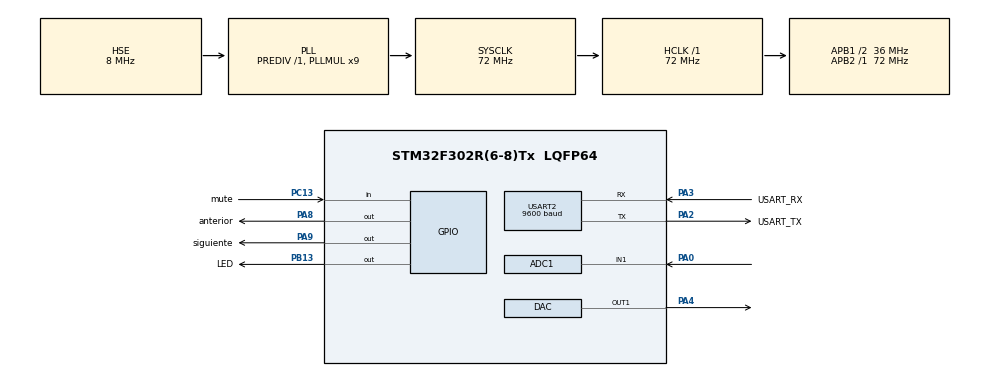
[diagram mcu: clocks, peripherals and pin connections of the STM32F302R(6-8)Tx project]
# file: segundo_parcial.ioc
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ADC1.Channel-0\#ChannelRegularConversion=ADC_CHANNEL_1
ADC1.ContinuousConvMode=ENABLE
ADC1.DMAContinuousRequests=ENABLE
ADC1.NbrOfConversionFlag=1
ADC1.Offset-0\#ChannelRegularConversion=0
ADC1.OffsetNumber-0\#ChannelRegularConversion=ADC_OFFSET_NONE
ADC1.Rank-0\#ChannelRegularConversion=1
ADC1.SamplingTime-0\#ChannelRegularConversion=ADC_SAMPLETIME_601CYCLES_5
ADC1.SamplingTimeOPAMP-0\#ChannelRegularConversion=ADC_SAMPLETIME_61CYCLES_5
ADC1.SubFamily=STM32F302x8
ADC1.master=1
DAC.DAC_Trigger=DAC_TRIGGER_T2_TRGO
Dma.ADC1.0.Direction=DMA_PERIPH_TO_MEMORY
Dma.ADC1.0.Instance=DMA1_Channel1
Dma.ADC1.0.MemDataAlignment=DMA_MDATAALIGN_WORD
Dma.ADC1.0.MemInc=DMA_MINC_ENABLE
Dma.ADC1.0.Mode=DMA_CIRCULAR
Dma.ADC1.0.PeriphDataAlignment=DMA_PDATAALIGN_WORD
Dma.ADC1.0.PeriphInc=DMA_PINC_DISABLE
Dma.ADC1.0.Priority=DMA_PRIORITY_LOW
Dma.DAC_CH1.1.Direction=DMA_MEMORY_TO_PERIPH
Dma.DAC_CH1.1.Instance=DMA1_Channel3
Dma.DAC_CH1.1.MemDataAlignment=DMA_MDATAALIGN_WORD
Dma.DAC_CH1.1.MemInc=DMA_MINC_ENABLE
Dma.DAC_CH1.1.Mode=DMA_CIRCULAR
Dma.DAC_CH1.1.PeriphDataAlignment=DMA_PDATAALIGN_WORD
Dma.DAC_CH1.1.PeriphInc=DMA_PINC_DISABLE
Dma.DAC_CH1.1.Priority=DMA_PRIORITY_LOW
Dma.Request0=ADC1
Dma.Request1=DAC_CH1
Mcu.Family=STM32F3
Mcu.Name=STM32F302R(6-8)Tx
Mcu.Package=LQFP64
NVIC.DMA1_Channel1_IRQn=true\:0\:0\:false\:false\:true\:false\:true\:true
NVIC.DMA1_Channel3_IRQn=true\:0\:0\:false\:false\:true\:false\:true\:true
NVIC.PriorityGroup=NVIC_PRIORITYGROUP_0
PA0.Mode=IN1-Single-Ended
PA0.Signal=ADC1_IN1
PA13.GPIO_Label=TMS
PA13.Mode=Serial_Wire
PA13.Signal=SYS_JTMS-SWDIO
PA14.GPIO_Label=TCK
PA14.Mode=Serial_Wire
PA14.Signal=SYS_JTCK-SWCLK
PA2.GPIO_Label=USART_TX
PA2.GPIO_Mode=GPIO_MODE_AF_PP
PA2.GPIO_PuPd=GPIO_NOPULL
PA2.GPIO_Speed=GPIO_SPEED_FREQ_LOW
PA2.Mode=Asynchronous
PA2.Signal=USART2_TX
PA3.GPIO_Label=USART_RX
PA3.GPIO_Mode=GPIO_MODE_AF_PP
PA3.GPIO_PuPd=GPIO_NOPULL
PA3.GPIO_Speed=GPIO_SPEED_FREQ_LOW
PA3.Mode=Asynchronous
PA3.Signal=USART2_RX
PA4.Signal=COMP_DAC1_group
PA8.GPIO_Label=anterior
PA8.GPIO_PuPd=GPIO_PULLDOWN
PA8.Signal=GPIO_Output
PA9.GPIO_Label=siguiente
PA9.GPIO_PuPd=GPIO_PULLDOWN
PA9.Signal=GPIO_Output
PB13.GPIO_Label=LED
PB13.Signal=GPIO_Output
PB3.GPIO_Label=SWO
PB3.Mode=Trace_Asynchronous_SW
PB3.Signal=SYS_JTDO-TRACESWO
PC13.GPIO_Label=mute
PC13.Signal=GPIO_Input
PC14\ -\ OSC32_IN.Signal=RCC_OSC32_IN
PC15\ -\ OSC32_OUT.Signal=RCC_OSC32_OUT
PF0-OSC_IN.Mode=HSE-External-Oscillator
PF0-OSC_IN.Signal=RCC_OSC_IN
PF1-OSC_OUT.Mode=HSE-External-Oscillator
PF1-OSC_OUT.Signal=RCC_OSC_OUT
ProjectManager.HeapSize=0x200
ProjectManager.StackSize=0x400
ProjectManager.TargetToolchain=STM32CubeIDE
RCC.AHBFreq_Value=72000000
RCC.APB1CLKDivider=RCC_HCLK_DIV2
RCC.APB1Freq_Value=36000000
RCC.APB1TimFreq_Value=72000000
RCC.APB2Freq_Value=72000000
RCC.APB2TimFreq_Value=72000000
RCC.CortexFreq_Value=72000000
RCC.HCLKFreq_Value=72000000
RCC.HSE_VALUE=8000000
RCC.HSI_VALUE=8000000
RCC.PLLM=8
RCC.PLLMUL=RCC_PLL_MUL9
RCC.PLLN=336
RCC.PLLP=RCC_PLLP_DIV4
RCC.PLLQ=7
RCC.PLLSourceVirtual=RCC_PLLSOURCE_HSE
RCC.SYSCLKFreq_VALUE=72000000
RCC.SYSCLKSourceVirtual=RCC_SYSCLKSOURCE_PLLCLK
RCC.USBFreq_Value=72000000
SH.COMP_DAC1_group.0=DAC_OUT1,DAC_OUT1
TIM2.Period=100-1
TIM2.Prescaler=72-1
TIM2.TIM_MasterOutputTrigger=TIM_TRGO_UPDATE
USART2.BaudRate=9600
USART2.VirtualMode-Asynchronous=VM_ASYNC
VP_TIM2_VS_ClockSourceINT.Mode=Internal
board=NUCLEO-F302R8

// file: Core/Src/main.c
/* USER CODE BEGIN Header */
/**
  ******************************************************************************
  * @file           : main.c
  * @brief          : Main program body
  ******************************************************************************
  * @attention
  *
  * Copyright (c) 2023 STMicroelectronics.
  * All rights reserved.
  *
  * This software is licensed under terms that can be found in the LICENSE file
  * in the root directory of this software component.
  * If no LICENSE file comes with this software, it is provided AS-IS.
  *
  ******************************************************************************
  */
/* USER CODE END Header */
#include "main.h"

/* USER CODE BEGIN Includes */
#include "stdio.h"
#include "string.h"
/* USER CODE END Includes */

/* USER CODE BEGIN PD */
#define BUFFER_SIZE 1
/* USER CODE END PD */

ADC_HandleTypeDef hadc1;
DMA_HandleTypeDef hdma_adc1;

DAC_HandleTypeDef hdac;
DMA_HandleTypeDef hdma_dac_ch1;

TIM_HandleTypeDef htim2;

UART_HandleTypeDef huart2;

/* USER CODE BEGIN PV */
uint32_t input_1 = 0;
int mut = 0;
int count = 0;
/* USER CODE END PV */

void SystemClock_Config(void);
static void MX_GPIO_Init(void);
static void MX_DMA_Init(void);
static void MX_USART2_UART_Init(void);
static void MX_ADC1_Init(void);
static void MX_DAC_Init(void);
static void MX_TIM2_Init(void);

/* USER CODE BEGIN 0 */
void next(){

			HAL_GPIO_WritePin(siguiente_GPIO_Port, siguiente_Pin, 1);
			HAL_Delay(1);
			HAL_GPIO_WritePin(siguiente_GPIO_Port, siguiente_Pin, 0);

}

void back(){

		HAL_GPIO_WritePin(anterior_GPIO_Port, anterior_Pin, 1);
		HAL_Delay(1);
		HAL_GPIO_WritePin(anterior_GPIO_Port, anterior_Pin, 0);

}

/* USER CODE END 0 */

int main(void)
{
  /* USER CODE BEGIN 1 */
//	char rxBuffer[BUFFER_SIZE];
  /* USER CODE END 1 */

  /* MCU Configuration--------------------------------------------------------*/

  /* Reset of all peripherals, Initializes the Flash interface and the Systick. */
  HAL_Init();

  /* Configure the system clock */
  SystemClock_Config();

  /* Initialize all configured peripherals */
  MX_GPIO_Init();
  MX_DMA_Init();
  MX_USART2_UART_Init();
  MX_ADC1_Init();
  MX_DAC_Init();
  MX_TIM2_Init();
  /* USER CODE BEGIN 2 */
HAL_ADC_Start_DMA(&hadc1, &input_1, 1);
HAL_DAC_Start_DMA(&hdac, DAC_CHANNEL_1, &input_1, 1, DAC_ALIGN_12B_R);
HAL_TIM_Base_Init(&htim2);\
//char mensaje_1[20] = "encendido";
//char mensaje_2[20] = "apagado";
char mensaje_3[20] = "muteon";
char mensaje_4[20] = "muteoff";

  /* USER CODE END 2 */

  /* Infinite loop */
  /* USER CODE BEGIN WHILE */
  while (1)
  {
		/*if (HAL_UART_Receive(&huart2,(uint8_t*)rxBuffer , 1, 100)== HAL_OK){
			if (rxBuffer[0] = '1'){
				HAL_UART_Transmit(&huart2, (uint8_t*)mensaje_1, strlen(mensaje_1), 100);
				  next();
						HAL_GPIO_TogglePin(LED_GPIO_Port, LED_Pin);

			}
		}

	  if (rxBuffer[0] = '2'){
		  HAL_UART_Transmit(&huart2, (uint8_t*)mensaje_2, strlen(mensaje_2), 100);
		  back();
			HAL_GPIO_TogglePin(LED_GPIO_Port, LED_Pin);
	  }
*/

if (!HAL_GPIO_ReadPin(mute_GPIO_Port, mute_Pin)){
	count ++;
	HAL_Delay(400);
}
if (count == 1){//desactiva el dac y adc cauando es 1
	  HAL_UART_Transmit(&huart2, (uint8_t*)mensaje_3, strlen(mensaje_3), 100);
	HAL_DAC_Stop(&hdac, DAC_CHANNEL_1);
	HAL_ADC_Stop(&hadc1);
}
if (count == 2){//aqui se reproduce
	  HAL_UART_Transmit(&huart2, (uint8_t*)mensaje_4, strlen(mensaje_4), 100);
	HAL_DAC_Start(&hdac, DAC_CHANNEL_1);
	HAL_ADC_Start(&hadc1);

}
if (count == 3){
	count = 0;//se cambiao a 0 si da error cambiar a 1.
    /* USER CODE END WHILE */

  }
}
}
void SystemClock_Config(void)
{
  RCC_OscInitTypeDef RCC_OscInitStruct = {0};
  RCC_ClkInitTypeDef RCC_ClkInitStruct = {0};
  RCC_PeriphCLKInitTypeDef PeriphClkInit = {0};

  /** Initializes the RCC Oscillators according to the specified parameters
  * in the RCC_OscInitTypeDef structure.
  */
  RCC_OscInitStruct.OscillatorType = RCC_OSCILLATORTYPE_HSE;
  RCC_OscInitStruct.HSEState = RCC_HSE_ON;
  RCC_OscInitStruct.HSEPredivValue = RCC_HSE_PREDIV_DIV1;
  RCC_OscInitStruct.HSIState = RCC_HSI_ON;
  RCC_OscInitStruct.PLL.PLLState = RCC_PLL_ON;
  RCC_OscInitStruct.PLL.PLLSource = RCC_PLLSOURCE_HSE;
  RCC_OscInitStruct.PLL.PLLMUL = RCC_PLL_MUL9;
  if (HAL_RCC_OscConfig(&RCC_OscInitStruct) != HAL_OK)
  {
    Error_Handler();
  }

  /** Initializes the CPU, AHB and APB buses clocks
  */
  RCC_ClkInitStruct.ClockType = RCC_CLOCKTYPE_HCLK|RCC_CLOCKTYPE_SYSCLK
                              |RCC_CLOCKTYPE_PCLK1|RCC_CLOCKTYPE_PCLK2;
  RCC_ClkInitStruct.SYSCLKSource = RCC_SYSCLKSOURCE_PLLCLK;
  RCC_ClkInitStruct.AHBCLKDivider = RCC_SYSCLK_DIV1;
  RCC_ClkInitStruct.APB1CLKDivider = RCC_HCLK_DIV2;
  RCC_ClkInitStruct.APB2CLKDivider = RCC_HCLK_DIV1;

  if (HAL_RCC_ClockConfig(&RCC_ClkInitStruct, FLASH_LATENCY_2) != HAL_OK)
  {
    Error_Handler();
  }
  PeriphClkInit.PeriphClockSelection = RCC_PERIPHCLK_ADC1;
  PeriphClkInit.Adc1ClockSelection = RCC_ADC1PLLCLK_DIV1;

  if (HAL_RCCEx_PeriphCLKConfig(&PeriphClkInit) != HAL_OK)
  {
    Error_Handler();
  }
}

static void MX_ADC1_Init(void)
{

  ADC_ChannelConfTypeDef sConfig = {0};

  /** Common config
  */
  hadc1.Instance = ADC1;
  hadc1.Init.ClockPrescaler = ADC_CLOCK_ASYNC_DIV1;
  hadc1.Init.Resolution = ADC_RESOLUTION_12B;
  hadc1.Init.ScanConvMode = ADC_SCAN_DISABLE;
  hadc1.Init.ContinuousConvMode = ENABLE;
  hadc1.Init.DiscontinuousConvMode = DISABLE;
  hadc1.Init.ExternalTrigConvEdge = ADC_EXTERNALTRIGCONVEDGE_NONE;
  hadc1.Init.ExternalTrigConv = ADC_SOFTWARE_START;
  hadc1.Init.DataAlign = ADC_DATAALIGN_RIGHT;
  hadc1.Init.NbrOfConversion = 1;
  hadc1.Init.DMAContinuousRequests = ENABLE;
  hadc1.Init.EOCSelection = ADC_EOC_SINGLE_CONV;
  hadc1.Init.LowPowerAutoWait = DISABLE;
  hadc1.Init.Overrun = ADC_OVR_DATA_OVERWRITTEN;
  if (HAL_ADC_Init(&hadc1) != HAL_OK)
  {
    Error_Handler();
  }

  /** Configure Regular Channel
  */
  sConfig.Channel = ADC_CHANNEL_1;
  sConfig.Rank = ADC_REGULAR_RANK_1;
  sConfig.SingleDiff = ADC_SINGLE_ENDED;
  sConfig.SamplingTime = ADC_SAMPLETIME_601CYCLES_5;
  sConfig.OffsetNumber = ADC_OFFSET_NONE;
  sConfig.Offset = 0;
  if (HAL_ADC_ConfigChannel(&hadc1, &sConfig) != HAL_OK)
  {
    Error_Handler();
  }

}

static void MX_DAC_Init(void)
{

  DAC_ChannelConfTypeDef sConfig = {0};

  /** DAC Initialization
  */
  hdac.Instance = DAC;
  if (HAL_DAC_Init(&hdac) != HAL_OK)
  {
    Error_Handler();
  }

  /** DAC channel OUT1 config
  */
  sConfig.DAC_Trigger = DAC_TRIGGER_T2_TRGO;
  sConfig.DAC_OutputBuffer = DAC_OUTPUTBUFFER_ENABLE;
  if (HAL_DAC_ConfigChannel(&hdac, &sConfig, DAC_CHANNEL_1) != HAL_OK)
  {
    Error_Handler();
  }

}

static void MX_TIM2_Init(void)
{

  TIM_ClockConfigTypeDef sClockSourceConfig = {0};
  TIM_MasterConfigTypeDef sMasterConfig = {0};

  htim2.Instance = TIM2;
  htim2.Init.Prescaler = 72-1;
  htim2.Init.CounterMode = TIM_COUNTERMODE_UP;
  htim2.Init.Period = 100-1;
  htim2.Init.ClockDivision = TIM_CLOCKDIVISION_DIV1;
  htim2.Init.AutoReloadPreload = TIM_AUTORELOAD_PRELOAD_DISABLE;
  if (HAL_TIM_Base_Init(&htim2) != HAL_OK)
  {
    Error_Handler();
  }
  sClockSourceConfig.ClockSource = TIM_CLOCKSOURCE_INTERNAL;
  if (HAL_TIM_ConfigClockSource(&htim2, &sClockSourceConfig) != HAL_OK)
  {
    Error_Handler();
  }
  sMasterConfig.MasterOutputTrigger = TIM_TRGO_UPDATE;
  sMasterConfig.MasterSlaveMode = TIM_MASTERSLAVEMODE_DISABLE;
  if (HAL_TIMEx_MasterConfigSynchronization(&htim2, &sMasterConfig) != HAL_OK)
  {
    Error_Handler();
  }

}

static void MX_USART2_UART_Init(void)
{

  huart2.Instance = USART2;
  huart2.Init.BaudRate = 9600;
  huart2.Init.WordLength = UART_WORDLENGTH_8B;
  huart2.Init.StopBits = UART_STOPBITS_1;
  huart2.Init.Parity = UART_PARITY_NONE;
  huart2.Init.Mode = UART_MODE_TX_RX;
  huart2.Init.HwFlowCtl = UART_HWCONTROL_NONE;
  huart2.Init.OverSampling = UART_OVERSAMPLING_16;
  huart2.Init.OneBitSampling = UART_ONE_BIT_SAMPLE_DISABLE;
  huart2.AdvancedInit.AdvFeatureInit = UART_ADVFEATURE_NO_INIT;
  if (HAL_UART_Init(&huart2) != HAL_OK)
  {
    Error_Handler();
  }

}

static void MX_DMA_Init(void)
{

  /* DMA controller clock enable */
  __HAL_RCC_DMA1_CLK_ENABLE();

  /* DMA interrupt init */
  /* DMA1_Channel1_IRQn interrupt configuration */
  HAL_NVIC_SetPriority(DMA1_Channel1_IRQn, 0, 0);
  HAL_NVIC_EnableIRQ(DMA1_Channel1_IRQn);
  /* DMA1_Channel3_IRQn interrupt configuration */
  HAL_NVIC_SetPriority(DMA1_Channel3_IRQn, 0, 0);
  HAL_NVIC_EnableIRQ(DMA1_Channel3_IRQn);

}

static void MX_GPIO_Init(void)
{
  GPIO_InitTypeDef GPIO_InitStruct = {0};

  /* GPIO Ports Clock Enable */
  __HAL_RCC_GPIOC_CLK_ENABLE();
  __HAL_RCC_GPIOF_CLK_ENABLE();
  __HAL_RCC_GPIOA_CLK_ENABLE();
  __HAL_RCC_GPIOB_CLK_ENABLE();

  /*Configure GPIO pin Output Level */
  HAL_GPIO_WritePin(LED_GPIO_Port, LED_Pin, GPIO_PIN_RESET);

  /*Configure GPIO pin Output Level */
  HAL_GPIO_WritePin(GPIOA, anterior_Pin|siguiente_Pin, GPIO_PIN_RESET);

  /*Configure GPIO pin : mute_Pin */
  GPIO_InitStruct.Pin = mute_Pin;
  GPIO_InitStruct.Mode = GPIO_MODE_INPUT;
  GPIO_InitStruct.Pull = GPIO_NOPULL;
  HAL_GPIO_Init(mute_GPIO_Port, &GPIO_InitStruct);

  /*Configure GPIO pin : LED_Pin */
  GPIO_InitStruct.Pin = LED_Pin;
  GPIO_InitStruct.Mode = GPIO_MODE_OUTPUT_PP;
  GPIO_InitStruct.Pull = GPIO_NOPULL;
  GPIO_InitStruct.Speed = GPIO_SPEED_FREQ_LOW;
  HAL_GPIO_Init(LED_GPIO_Port, &GPIO_InitStruct);

  /*Configure GPIO pins : anterior_Pin siguiente_Pin */
  GPIO_InitStruct.Pin = anterior_Pin|siguiente_Pin;
  GPIO_InitStruct.Mode = GPIO_MODE_OUTPUT_PP;
  GPIO_InitStruct.Pull = GPIO_PULLDOWN;
  GPIO_InitStruct.Speed = GPIO_SPEED_FREQ_LOW;
  HAL_GPIO_Init(GPIOA, &GPIO_InitStruct);

}

void Error_Handler(void)
{
  __disable_irq();
  while (1)
  {
  }
}
